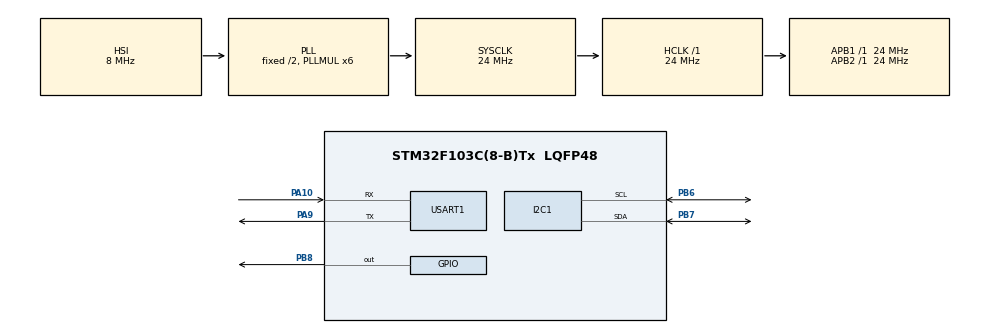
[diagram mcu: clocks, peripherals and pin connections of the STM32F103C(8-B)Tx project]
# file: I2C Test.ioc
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I2C1.I2C_Mode=I2C_Standard
Mcu.Family=STM32F1
Mcu.Name=STM32F103C(8-B)Tx
Mcu.Package=LQFP48
NVIC.I2C1_ER_IRQn=true\:0\:0\:false\:false\:true\:true\:true
NVIC.I2C1_EV_IRQn=true\:0\:0\:false\:false\:true\:true\:true
NVIC.PriorityGroup=NVIC_PRIORITYGROUP_4
NVIC.TIM4_IRQn=true\:0\:0\:false\:false\:true\:false\:true
NVIC.TimeBase=TIM4_IRQn
NVIC.TimeBaseIP=TIM4
PA10.Mode=Asynchronous
PA10.Signal=USART1_RX
PA13.Mode=Trace_Asynchronous_SW
PA13.Signal=SYS_JTMS-SWDIO
PA14.Mode=Trace_Asynchronous_SW
PA14.Signal=SYS_JTCK-SWCLK
PA9.Mode=Asynchronous
PA9.Signal=USART1_TX
PB3.Mode=Trace_Asynchronous_SW
PB3.Signal=SYS_JTDO-TRACESWO
PB6.Mode=I2C
PB6.Signal=I2C1_SCL
PB7.Mode=I2C
PB7.Signal=I2C1_SDA
PB8.Signal=GPIO_Output
ProjectManager.HeapSize=0x200
ProjectManager.StackSize=0x400
ProjectManager.TargetToolchain=STM32CubeIDE
RCC.AHBFreq_Value=24000000
RCC.APB1Freq_Value=24000000
RCC.APB1TimFreq_Value=24000000
RCC.APB2Freq_Value=24000000
RCC.APB2TimFreq_Value=24000000
RCC.HCLKFreq_Value=24000000
RCC.PLLMUL=RCC_PLL_MUL6
RCC.SYSCLKFreq_VALUE=24000000
RCC.SYSCLKSource=RCC_SYSCLKSOURCE_PLLCLK
RCC.USBFreq_Value=24000000
USART1.VirtualMode=VM_ASYNC
VP_CRC_VS_CRC.Mode=CRC_Activate
VP_SYS_VS_tim4.Mode=TIM4
board=custom

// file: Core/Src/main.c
/* USER CODE BEGIN Header */
/**
  ******************************************************************************
  * @file           : main.c
  * @brief          : Main program body
  ******************************************************************************
  * @attention
  *
  * <h2><center>&copy; Copyright (c) 2021 STMicroelectronics.
  * All rights reserved.</center></h2>
  *
  * This software component is licensed by ST under BSD 3-Clause license,
  * the "License"; You may not use this file except in compliance with the
  * License. You may obtain a copy of the License at:
  *                        opensource.org/licenses/BSD-3-Clause
  *
  ******************************************************************************
  */
/* USER CODE END Header */
#include "main.h"
#include "i2c.h"
#include "usart.h"
#include "gpio.h"

/* USER CODE BEGIN Includes */
#include <stdio.h>
#include <math.h>
#include "mlx90614.h"
/* USER CODE END Includes */

void SystemClock_Config(void);

/* USER CODE BEGIN 0 */
int _write(int file, char* p, int len)
{
	int i = 0;
	for(i=0; i<len; i++)
		ITM_SendChar((*p++));
	return len;
}

uint8_t count = 0;
/* USER CODE END 0 */

int main(void)
{
  /* USER CODE BEGIN 1 */
	//uint8_t buf[12];
  /* USER CODE END 1 */

  /* MCU Configuration--------------------------------------------------------*/

  /* Reset of all peripherals, Initializes the Flash interface and the Systick. */
  HAL_Init();

  /* Configure the system clock */
  SystemClock_Config();

  /* Initialize all configured peripherals */
  MX_GPIO_Init();
  MX_I2C1_Init();
  MX_USART1_UART_Init();

  /* Infinite loop */
  /* USER CODE BEGIN WHILE */
  uint16_t temp;

  while (1)
  {

	  HAL_GPIO_TogglePin(GPIOB, GPIO_PIN_8);
	  count++;
	  //printf("HELLO WORLD count = %d \n", count);
	  HAL_Delay(250);

	  temp = MLX90614_ReadTemp(0x5A, 0x07);
	  HAL_Delay(3);
	  printf("%d %d \n", count, temp);
	 /* strcpy((char*)buf, "Hello!\r\n");
	  HAL_UART_Transmit(&huart1, buf, strlen((char*)buf), HAL_MAX_DELAY);
	  HAL_Delay(500);*/

    /* USER CODE END WHILE */

  }
}

void SystemClock_Config(void)
{
  RCC_OscInitTypeDef RCC_OscInitStruct = {0};
  RCC_ClkInitTypeDef RCC_ClkInitStruct = {0};

  /** Initializes the RCC Oscillators according to the specified parameters
  * in the RCC_OscInitTypeDef structure.
  */
  RCC_OscInitStruct.OscillatorType = RCC_OSCILLATORTYPE_HSI;
  RCC_OscInitStruct.HSIState = RCC_HSI_ON;
  RCC_OscInitStruct.HSICalibrationValue = RCC_HSICALIBRATION_DEFAULT;
  RCC_OscInitStruct.PLL.PLLState = RCC_PLL_ON;
  RCC_OscInitStruct.PLL.PLLSource = RCC_PLLSOURCE_HSI_DIV2;
  RCC_OscInitStruct.PLL.PLLMUL = RCC_PLL_MUL6;
  if (HAL_RCC_OscConfig(&RCC_OscInitStruct) != HAL_OK)
  {
    Error_Handler();
  }
  /** Initializes the CPU, AHB and APB buses clocks
  */
  RCC_ClkInitStruct.ClockType = RCC_CLOCKTYPE_HCLK|RCC_CLOCKTYPE_SYSCLK
                              |RCC_CLOCKTYPE_PCLK1|RCC_CLOCKTYPE_PCLK2;
  RCC_ClkInitStruct.SYSCLKSource = RCC_SYSCLKSOURCE_PLLCLK;
  RCC_ClkInitStruct.AHBCLKDivider = RCC_SYSCLK_DIV1;
  RCC_ClkInitStruct.APB1CLKDivider = RCC_HCLK_DIV1;
  RCC_ClkInitStruct.APB2CLKDivider = RCC_HCLK_DIV1;

  if (HAL_RCC_ClockConfig(&RCC_ClkInitStruct, FLASH_LATENCY_0) != HAL_OK)
  {
    Error_Handler();
  }
}

 /**
  * @brief  Period elapsed callback in non blocking mode
  * @note   This function is called  when TIM4 interrupt took place, inside
  * HAL_TIM_IRQHandler(). It makes a direct call to HAL_IncTick() to increment
  * a global variable "uwTick" used as application time base.
  * @param  htim : TIM handle
  * @retval None
  */
void HAL_TIM_PeriodElapsedCallback(TIM_HandleTypeDef *htim)
{
  if (htim->Instance == TIM4) {
    HAL_IncTick();
  }
}

void Error_Handler(void)
{
  __disable_irq();
  while (1)
  {
  }
}

/************************ (C) COPYRIGHT STMicroelectronics *****END OF FILE****/
